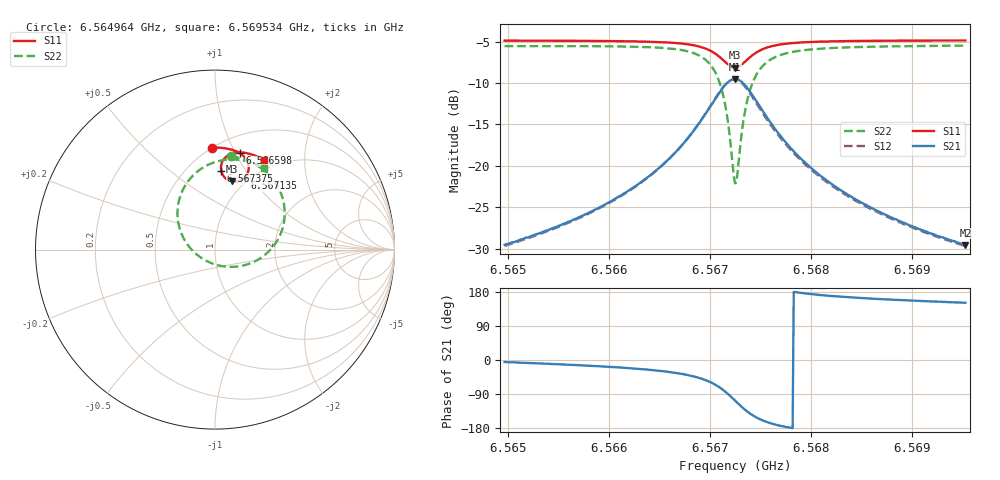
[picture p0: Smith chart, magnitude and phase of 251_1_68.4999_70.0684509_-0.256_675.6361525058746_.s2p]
#  HZ  S  RI  R  50.00
! Rohde & Schwarz Vector Network Analyzer
! Rohde-Schwarz,ZNB20-2Port,1311601062101988,3.16
! Created: UTC 3/20/2024, 5:14:57 PM
! freq[Hz]  re:S11  im:S11  re:S21  im:S21  re:S12  im:S12  re:S22  im:S22
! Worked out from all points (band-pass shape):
!   401 points, 6.564964 GHz to 6.569534 GHz, reference 50 ohm
!   highest |S21| = -9.53 dB at 6.567249 GHz (marker M1); lowest = -29.6 dB at 6.569534 GHz (marker M2)
!   |S21| within 3 dB of the highest: 6.567021 GHz to 6.567478 GHz (456.8 kHz wide, 0.00696 % of centre)
!   lowest |S11| = -8.2 dB at 6.567249 GHz (marker M3), VSWR 2.28, Z = 43.7 + j39.2 ohm
!   |S11| at or under -10 dB: nowhere
!   |S22| runs from -22.1 to -5.5 dB; largest |S21 - S12| = 0.018
!   S11 on the Smith chart (normalised r, x): 6.564964 GHz: 0.50, +0.84; 6.566598 GHz: 0.67, +1.04; 6.567135 GHz: 0.95, +0.93; 6.567375 GHz: 0.72, +0.78; 6.569534 GHz: 0.87, +1.29
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6.5649641e9  -0.0154 0.5688  0.0332 -0.00303  0.0326 -0.00355  0.0884 0.5199
6.5657295e9  0.0497 0.5653  0.0483 -0.0122  0.0474 -0.0127  0.1683 0.4997
6.5661522e9  0.09 0.5574  0.0638 -0.024  0.0629 -0.0247  0.2258 0.4737
6.5664949e9  0.1276 0.5434  0.0855 -0.046  0.0841 -0.0471  0.2886 0.4284
6.5665978e9  0.1403 0.5362  0.0942 -0.0579  0.0929 -0.0593  0.3118 0.4045
6.5668034e9  0.1678 0.5117  0.1152 -0.1  0.1132 -0.1023  0.3639 0.3225
6.5669633e9  0.1861 0.473  0.1234 -0.1682  0.12 -0.1721  0.3882 0.1912
6.5670661e9  0.1841 0.4318  0.1012 -0.2402  0.094 -0.2454  0.349 0.0539
6.5671347e9  0.1648 0.4002  0.0533 -0.2938  0.0414 -0.2976  0.2578 -0.0446
6.5671918e9  0.1331 0.3811  -0.0151 -0.3236  -0.0304 -0.3228  0.1299 -0.0937
6.5672261e9  0.1087 0.3777  -0.0647 -0.326  -0.0808 -0.321  0.0396 -0.0924
6.5672489e9  0.0921 0.3799  -0.0983 -0.3192  -0.1137 -0.3115  -0.0197 -0.0758
6.5672718e9  0.0764 0.3856  -0.1298 -0.3059  -0.1439 -0.2956  -0.0741 -0.0478
6.5673289e9  0.0464 0.4118  -0.1898 -0.2521  -0.1983 -0.2375  -0.1715 0.0566
6.5673746e9  0.035 0.438  -0.2138 -0.2005  -0.2176 -0.1857  -0.2048 0.1507
6.567466e9  0.0383 0.4837  -0.2149 -0.1128  -0.2126 -0.1015  -0.1916 0.3033
6.5676031e9  0.0663 0.5209  -0.1769 -0.0407  -0.1727 -0.0346  -0.1108 0.4239
6.567763e9  0.0988 0.5372  -0.1357 -0.00682  -0.1323 -0.00354  -0.0266 0.4777
6.5680143e9  0.1378 0.5419  -0.0951 0.0107  -0.0927 0.0122  0.0619 0.5005
6.5683571e9  0.1775 0.5372  -0.0655 0.0163  -0.0639 0.017  0.1363 0.4998
6.5687798e9  0.2166 0.5257  -0.0462 0.0172  -0.0452 0.0177  0.1966 0.4873
6.5695338e9  0.2756 0.4997  -0.0291 0.0161  -0.0284 0.0162  0.2717 0.4566
